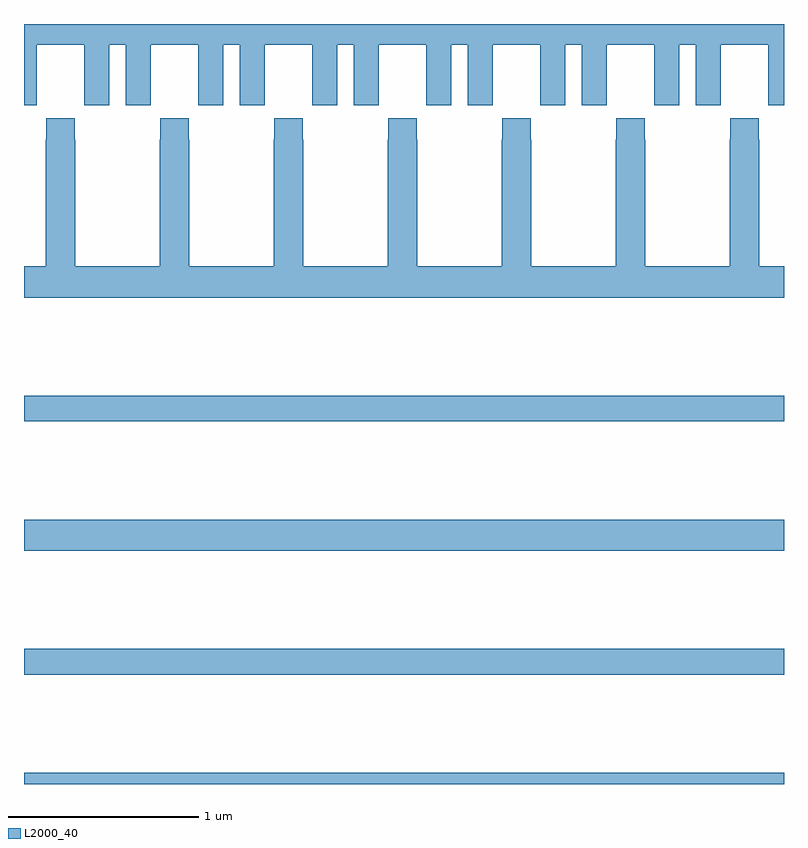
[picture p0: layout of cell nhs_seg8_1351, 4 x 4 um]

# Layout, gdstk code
import gdstk
lib = gdstk.Library(unit=1e-6, precision=1e-09)
def R(c, l, rs):  # rectangles x0, y0, x1, y1
    for r in rs: c.add(gdstk.rectangle(r[:2], r[2:], *l))
def P(c, l, *ps):  # polygons
    for p in ps: c.add(gdstk.Polygon(p, *l))
L2000_40 = (2000, 40)

nhs_seg8_1351 = lib.new_cell('nhs_seg8_1351')
R(nhs_seg8_1351, L2000_40, [(195,1153.9,199,1153.96), (195,1154.476,199,1154.612), (195,1155.128,199,1155.292), (195,1155.808,199,1155.944)])
P(nhs_seg8_1351, L2000_40, [(195.536,1157.472),(195.666,1157.472),(195.666,1157.584),(195.667,1157.584),(195.667,1157.792),(195.917,1157.792),(195.917,1157.584),(195.918,1157.584),(195.918,1157.472),(196.048,1157.472),(196.048,1157.792),(196.136,1157.792),(196.136,1157.472),(196.266,1157.472),(196.266,1157.584),(196.267,1157.584),(196.267,1157.792),(196.517,1157.792),(196.517,1157.584),(196.518,1157.584),(196.518,1157.472),(196.648,1157.472),(196.648,1157.792),(196.736,1157.792),(196.736,1157.472),(196.866,1157.472),(196.866,1157.584),(196.867,1157.584),(196.867,1157.792),(197.117,1157.792),(197.117,1157.584),(197.118,1157.584),(197.118,1157.472),(197.248,1157.472),(197.248,1157.792),(197.336,1157.792),(197.336,1157.472),(197.466,1157.472),(197.466,1157.584),(197.467,1157.584),(197.467,1157.792),(197.717,1157.792),(197.717,1157.584),(197.718,1157.584),(197.718,1157.472),(197.848,1157.472),(197.848,1157.792),(197.936,1157.792),(197.936,1157.472),(198.066,1157.472),(198.066,1157.584),(198.067,1157.584),(198.067,1157.792),(198.317,1157.792),(198.317,1157.584),(198.318,1157.584),(198.318,1157.472),(198.448,1157.472),(198.448,1157.792),(198.536,1157.792),(198.536,1157.472),(198.666,1157.472),(198.666,1157.584),(198.667,1157.584),(198.667,1157.792),(198.917,1157.792),(198.917,1157.584),(198.918,1157.584),(198.918,1157.472),(199,1157.472),(199,1157.9),(195,1157.9),(195,1157.472),(195.066,1157.472),(195.066,1157.584),(195.067,1157.584),(195.067,1157.792),(195.317,1157.792),(195.317,1157.584),(195.318,1157.584),(195.318,1157.472),(195.448,1157.472),(195.448,1157.792),(195.536,1157.792)],
  [(199,1156.624),(198.87,1156.624),(198.87,1157.291),(198.867,1157.291),(198.867,1157.404),(198.717,1157.404),(198.717,1157.291),(198.715,1157.291),(198.715,1156.624),(198.27,1156.624),(198.27,1157.291),(198.267,1157.291),(198.267,1157.404),(198.117,1157.404),(198.117,1157.291),(198.115,1157.291),(198.115,1156.624),(197.67,1156.624),(197.67,1157.291),(197.667,1157.291),(197.667,1157.404),(197.517,1157.404),(197.517,1157.291),(197.515,1157.291),(197.515,1156.624),(197.07,1156.624),(197.07,1157.291),(197.067,1157.291),(197.067,1157.404),(196.917,1157.404),(196.917,1157.291),(196.915,1157.291),(196.915,1156.624),(196.47,1156.624),(196.47,1157.291),(196.467,1157.291),(196.467,1157.404),(196.317,1157.404),(196.317,1157.291),(196.315,1157.291),(196.315,1156.624),(195.87,1156.624),(195.87,1157.291),(195.867,1157.291),(195.867,1157.404),(195.717,1157.404),(195.717,1157.291),(195.715,1157.291),(195.715,1156.624),(195.27,1156.624),(195.27,1157.291),(195.267,1157.291),(195.267,1157.404),(195.117,1157.404),(195.117,1157.291),(195.115,1157.291),(195.115,1156.624),(195,1156.624),(195,1156.46),(199,1156.46)])

lib.write_gds('nhs_seg8_1351.gds')
